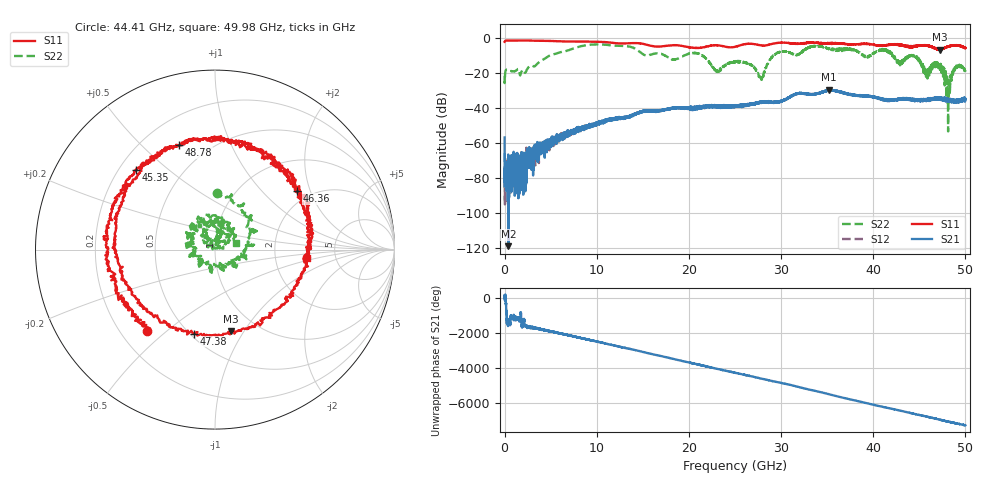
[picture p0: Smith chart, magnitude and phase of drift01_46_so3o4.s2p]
!Created with skrf (http://scikit-rf.org).
# Hz S RI R 50.0
!freq ReS11 ImS11 ReS21 ImS21 ReS12 ImS12 ReS22 ImS22
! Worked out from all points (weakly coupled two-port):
!   10001 points, 300 kHz to 50 GHz, reference 50 ohm
!   highest |S21| = -29.50 dB at 35.23 GHz (marker M1); lowest = -118.7 dB at 415.3 MHz (marker M2)
!   lowest |S11| = -6.7 dB at 47.2 GHz (marker M3), VSWR 2.72, Z = 38 - j43.9 ohm
!   |S11| at or under -10 dB: nowhere
!   |S22| runs from -53.3 to -3.6 dB; largest |S21 - S12| = 0.0035
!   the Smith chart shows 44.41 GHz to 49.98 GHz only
!   S11 on the Smith chart (normalised r, x): 44.41 GHz: 0.31, -0.43; 45.35 GHz: 0.27, +0.39; 46.36 GHz: 1.69, +1.62; 47.38 GHz: 0.52, -0.64; 48.78 GHz: 0.35, +0.65; 49.98 GHz: 3.06, -0.38
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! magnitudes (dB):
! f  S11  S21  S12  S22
! 300 kHz  -2.1  -56.7  -65.7  -21.8
! 415.3 MHz  -1.4  -118.7  -76.2  -18.3
! 8.335 GHz  -2.0  -50.9  -51.0  -4.6
! 16.67 GHz  -4.8  -41.4  -41.6  -8.7
! 20.96 GHz  -5.6  -39.1  -39.7  -8.8
! 23.08 GHz  -4.1  -38.8  -39.3  -18.8
! 25 GHz  -5.0  -38.9  -39.1  -13.7
! 27.84 GHz  -4.2  -36.2  -36.5  -22.7
! 29.48 GHz  -2.8  -36.6  -36.6  -8.8
! 33.34 GHz  -2.6  -32.1  -32.0  -4.7
! 35.23 GHz  -2.9  -29.5  -30.0  -5.9
! 41.67 GHz  -3.9  -35.4  -35.2  -7.7
! 42.83 GHz  -3.7  -35.1  -35.0  -13.5
! 44.41 GHz  -4.5  -34.5  -35.4  -10.0
! 45.35 GHz  -4.1  -35.0  -35.5  -15.1
! 46.36 GHz  -5.0  -34.9  -34.7  -16.9
! 47.2 GHz  -6.7  -34.1  -35.0  -15.6
! 47.38 GHz  -6.3  -34.9  -35.0  -17.6
! 48.13 GHz  -4.9  -35.3  -35.4  -36.1
! 48.78 GHz  -4.2  -35.7  -36.9  -18.5
! 49.98 GHz  -5.8  -35.0  -34.8  -18.3
! 50 GHz  -5.6  -35.4  -34.7  -18.6
